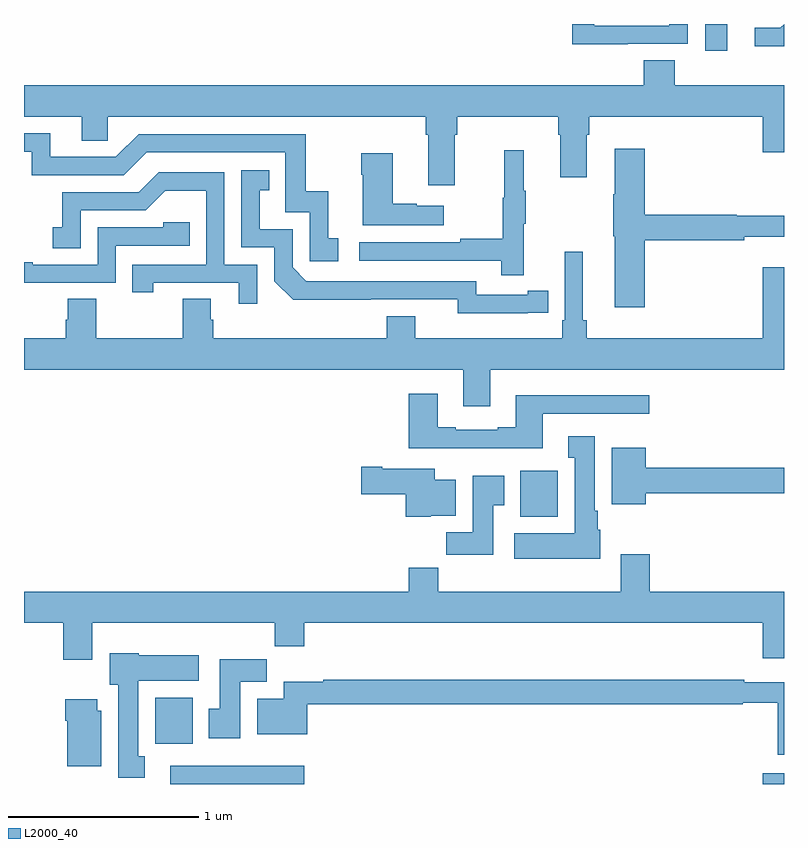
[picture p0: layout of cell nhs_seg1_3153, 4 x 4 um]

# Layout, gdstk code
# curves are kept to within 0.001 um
import gdstk
lib = gdstk.Library(unit=1e-6, precision=1e-09)
def R(c, l, rs):  # rectangles x0, y0, x1, y1
    for r in rs: c.add(gdstk.rectangle(r[:2], r[2:], *l))
def P(c, l, *ps):  # polygons
    for p in ps: c.add(gdstk.Polygon(p, *l))
L2000_40 = (2000, 40)

nhs_seg1_3153 = lib.new_cell('nhs_seg1_3153')
R(nhs_seg1_3153, L2000_40, [(281.771,568.199,282.476,568.294), (284.888,568.199,285,568.255), (281.69,568.412,281.887,568.654), (283.613,569.606,283.81,569.848), (284.586,572.058,284.701,572.199)])
P(nhs_seg1_3153, L2000_40, [(284.177,572.094),(284.493,572.094),(284.493,572.199),(284.397,572.199),(284.397,572.19),(284.001,572.19),(284.001,572.199),(283.885,572.199),(283.885,572.093),(284.177,572.093)],
  [(285,572.197),(284.981,572.178),(284.847,572.178),(284.847,572.081),(285,572.081)],
  [(283.267,571.616),(283.28,571.616),(283.28,571.712),(283.811,571.712),(283.811,571.616),(283.823,571.616),(283.823,571.392),(283.963,571.392),(283.963,571.616),(283.976,571.616),(283.976,571.712),(284.888,571.712),(284.888,571.524),(285,571.524),(285,571.876),(284.426,571.876),(284.426,572.009),(284.261,572.009),(284.261,571.876),(281,571.876),(281,571.712),(281.303,571.712),(281.303,571.585),(281.442,571.585),(281.442,571.712),(283.115,571.712),(283.115,571.616),(283.127,571.616),(283.127,571.35),(283.267,571.35)],
  [(282.655,571.071),(282.602,571.071),(282.602,571.318),(282.484,571.318),(282.484,571.62),(281.604,571.62),(281.484,571.5),(281.137,571.5),(281.137,571.623),(281,571.623),(281,571.527),(281.04,571.527),(281.04,571.404),(281.526,571.404),(281.646,571.524),(282.375,571.524),(282.375,571.209),(282.504,571.209),(282.504,570.951),(282.655,570.951)],
  [(284.267,571.06),(284.792,571.06),(284.792,571.079),(285,571.079),(285,571.189),(284.75,571.189),(284.75,571.196),(284.267,571.196),(284.267,571.543),(284.108,571.543),(284.108,571.304),(284.101,571.304),(284.101,571.083),(284.108,571.083),(284.108,570.708),(284.267,570.708)],
  [(283.631,571.147),(283.642,571.147),(283.642,571.321),(283.631,571.321),(283.631,571.534),(283.528,571.534),(283.528,571.284),(283.521,571.284),(283.521,571.07),(283.297,571.07),(283.297,571.05),(282.765,571.05),(282.765,570.954),(283.513,570.954),(283.513,570.876),(283.631,570.876)],
  [(283.21,571.243),(283.067,571.243),(283.067,571.253),(282.94,571.253),(282.94,571.519),(282.775,571.519),(282.775,571.406),(282.782,571.406),(282.782,571.139),(283.21,571.139)],
  [(283.652,570.678),(283.76,570.678),(283.76,570.794),(283.652,570.794),(283.652,570.774),(283.38,570.774),(283.38,570.846),(282.486,570.846),(282.414,570.918),(282.414,571.119),(282.241,571.119),(282.241,571.323),(282.29,571.323),(282.29,571.429),(282.144,571.429),(282.144,571.023),(282.318,571.023),(282.318,570.846),(282.416,570.749),(283.284,570.75),(283.284,570.677)],
  [(282.228,570.933),(282.054,570.933),(282.054,571.419),(281.708,571.419),(281.603,571.314),(281.2,571.314),(281.2,571.129),(281.151,571.129),(281.151,571.02),(281.298,571.02),(281.298,571.218),(281.64,571.218),(281.744,571.322),(281.958,571.322),(281.958,570.933),(281.569,570.933),(281.569,570.786),(281.68,570.786),(281.68,570.837),(282.131,570.837),(282.131,570.726),(282.228,570.726)],
  [(281.484,571.032),(281.873,571.032),(281.873,571.155),(281.733,571.155),(281.733,571.128),(281.388,571.128),(281.388,570.933),(281.047,570.933),(281.047,570.946),(281,570.946),(281,570.837),(281.484,570.837)],
  [(283.845,571),(283.845,570.64),(283.832,570.64),(283.832,570.544),(283.06,570.544),(283.06,570.661),(282.908,570.661),(282.908,570.544),(281.996,570.544),(281.996,570.642),(281.983,570.642),(281.983,570.752),(281.836,570.752),(281.836,570.544),(281.379,570.544),(281.379,570.752),(281.231,570.752),(281.231,570.642),(281.219,570.642),(281.219,570.544),(281,570.544),(281,570.38),(283.313,570.38),(283.313,570.186),(283.453,570.186),(283.453,570.38),(285,570.38),(285,570.919),(284.888,570.919),(284.888,570.544),(283.961,570.544),(283.961,570.64),(283.942,570.64),(283.942,571)],
  [(283.729,570.147),(284.29,570.147),(284.29,570.244),(283.589,570.244),(283.589,570.076),(283.493,570.076),(283.493,570.063),(283.273,570.063),(283.273,570.076),(283.177,570.076),(283.177,570.253),(283.025,570.253),(283.025,569.966),(283.729,569.966)],
  [(284.032,569.538),(284.02,569.538),(284.02,569.638),(284.005,569.638),(284.005,570.028),(283.865,570.028),(283.865,569.915),(283.898,569.915),(283.898,569.518),(283.581,569.518),(283.581,569.384),(284.032,569.384)],
  [(284.272,569.728),(285,569.728),(285,569.864),(284.272,569.864),(284.272,569.968),(284.093,569.968),(284.093,569.672),(284.272,569.672)],
  [(283.14,569.612),(283.273,569.612),(283.273,569.8),(283.162,569.8),(283.162,569.857),(282.886,569.857),(282.886,569.87),(282.774,569.87),(282.774,569.723),(283.01,569.723),(283.01,569.606),(283.14,569.606)],
  [(283.471,569.665),(283.528,569.665),(283.528,569.821),(283.361,569.821),(283.361,569.524),(283.222,569.524),(283.222,569.406),(283.471,569.406)],
  [(281,569.048),(281.207,569.048),(281.207,568.854),(281.359,568.854),(281.359,569.048),(282.319,569.048),(282.319,568.924),(282.476,568.924),(282.476,569.048),(284.888,569.048),(284.888,568.86),(285,568.86),(285,569.212),(284.294,569.212),(284.294,569.407),(284.141,569.407),(284.141,569.212),(283.181,569.212),(283.181,569.336),(283.025,569.336),(283.025,569.212),(281,569.212)],
  [(281.635,568.346),(281.602,568.346),(281.602,568.742),(281.92,568.742),(281.92,568.876),(281.604,568.876),(281.604,568.888),(281.45,568.888),(281.45,568.722),(281.495,568.722),(281.495,568.233),(281.635,568.233)],
  [(282.139,568.736),(282.278,568.736),(282.278,568.855),(282.029,568.855),(282.029,568.596),(281.972,568.596),(281.972,568.44),(282.139,568.44)],
  [(285,568.734),(284.792,568.734),(284.792,568.747),(282.574,568.747),(282.574,568.736),(282.368,568.736),(282.368,568.648),(282.227,568.648),(282.227,568.46),(282.491,568.46),(282.491,568.618),(284.782,568.618),(284.782,568.626),(284.966,568.626),(284.966,568.353),(285,568.353)],
  [(281.407,568.584),(281.386,568.584),(281.386,568.645),(281.216,568.645),(281.216,568.532),(281.228,568.532),(281.228,568.292),(281.407,568.292)])

lib.write_gds('nhs_seg1_3153.gds')
